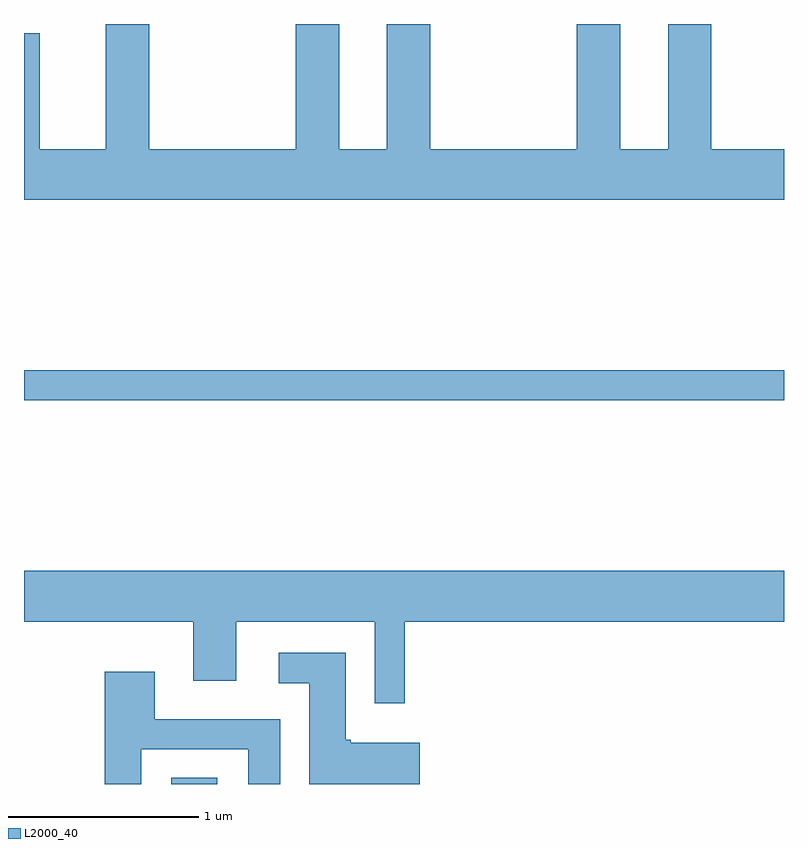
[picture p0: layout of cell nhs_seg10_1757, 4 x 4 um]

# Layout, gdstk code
import gdstk
lib = gdstk.Library(unit=1e-6, precision=1e-09)
def R(c, l, rs):  # rectangles x0, y0, x1, y1
    for r in rs: c.add(gdstk.rectangle(r[:2], r[2:], *l))
def P(c, l, *ps):  # polygons
    for p in ps: c.add(gdstk.Polygon(p, *l))
L2000_40 = (2000, 40)

nhs_seg10_1757 = lib.new_cell('nhs_seg10_1757')
R(nhs_seg10_1757, L2000_40, [(236.386,2208.522,236.629,2208.554), (235.611,2210.541,239.611,2210.699)])
P(nhs_seg10_1757, L2000_40, [(239.611,2211.864),(239.229,2211.864),(239.229,2212.522),(239.001,2212.522),(239.001,2211.864),(238.749,2211.864),(238.749,2212.522),(238.521,2212.522),(238.521,2211.864),(237.749,2211.864),(237.749,2212.522),(237.521,2212.522),(237.521,2211.864),(237.269,2211.864),(237.269,2212.522),(237.041,2212.522),(237.041,2211.864),(236.269,2211.864),(236.269,2212.522),(236.041,2212.522),(236.041,2211.864),(235.694,2211.864),(235.694,2212.474),(235.611,2212.474),(235.611,2211.596),(239.611,2211.596)],
  [(237.614,2209.376),(239.611,2209.376),(239.611,2209.644),(235.611,2209.644),(235.611,2209.376),(236.501,2209.376),(236.501,2209.066),(236.729,2209.066),(236.729,2209.376),(237.456,2209.376),(237.456,2208.948),(237.614,2208.948)],
  [(237.694,2208.739),(237.33,2208.739),(237.33,2208.754),(237.304,2208.754),(237.304,2209.214),(236.953,2209.214),(236.953,2209.051),(237.111,2209.051),(237.111,2208.522),(237.694,2208.522)],
  [(236.229,2208.706),(236.791,2208.706),(236.791,2208.522),(236.959,2208.522),(236.959,2208.864),(236.299,2208.864),(236.299,2209.114),(236.036,2209.114),(236.036,2208.522),(236.229,2208.522)])

lib.write_gds('nhs_seg10_1757.gds')
